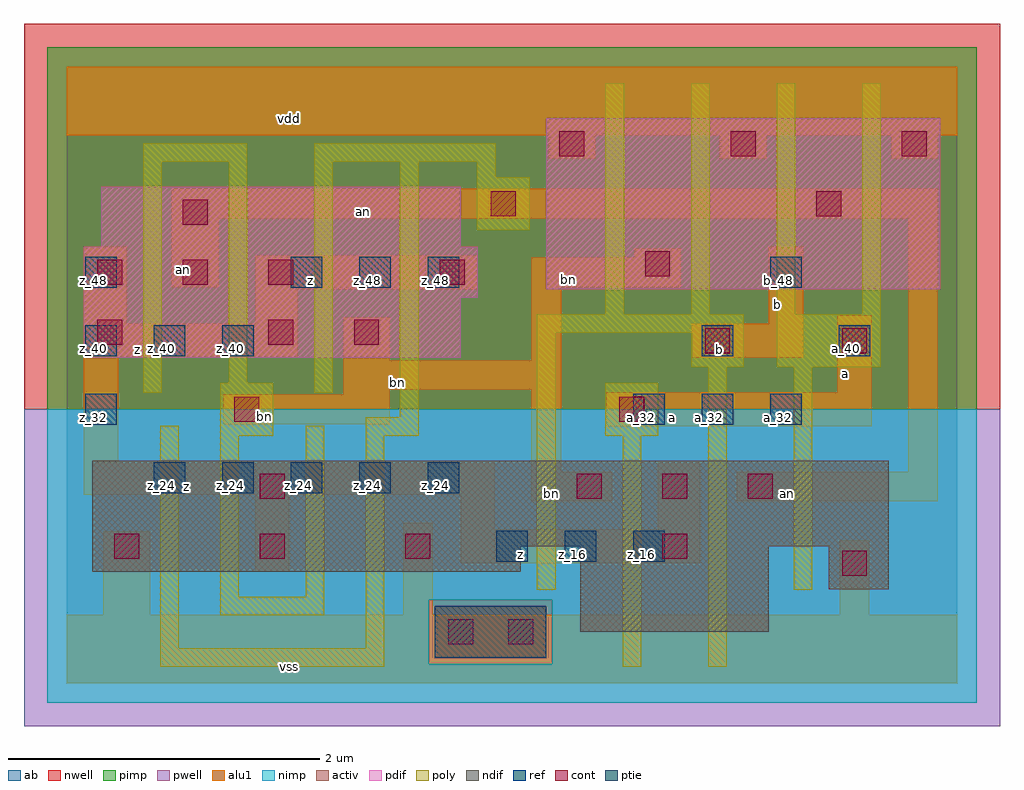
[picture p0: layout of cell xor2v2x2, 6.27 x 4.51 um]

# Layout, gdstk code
import gdstk
lib = gdstk.Library(unit=1e-6, precision=2.5e-09)
def R(c, l, rs):  # rectangles x0, y0, x1, y1
    for r in rs: c.add(gdstk.rectangle(r[:2], r[2:], *l))
def A(c, l, x, y, w, h, nx, ny, dx, dy):  # array of equal rectangles
    R(c, l, [(x+i*dx, y+j*dy, x+i*dx+w, y+j*dy+h) for i in range(nx) for j in range(ny)])
ndif = (3, 0)
pdif = (4, 0)
ptie = (6, 0)
ref = (24, 0)
cont = (25, 0)
pwell = (41, 0)
nwell = (42, 0)
activ = (43, 0)
pimp = (44, 0)
nimp = (45, 0)
poly = (46, 0)
alu1 = (49, 0)
ab = (63, 0)

xor2v2x2 = lib.new_cell('xor2v2x2')
R(xor2v2x2, ndif, [(3.3,0.33,4.51,0.88), (4.895,0.605,5.28,0.88), (0.165,0.715,2.915,0.88), (0.165,0.88,5.28,1.43)])
R(xor2v2x2, pdif, [(0.11,2.09,2.53,2.475), (0.11,2.475,2.64,2.805), (3.08,2.53,5.61,3.63), (0.22,2.805,2.53,3.19)])
R(xor2v2x2, ptie, [(2.365,0.165,3.08,0.495)])
A(xor2v2x2, ref, 2.76, 0.78, 0.2, 0.2, 3, 1, 0.44, 0)
A(xor2v2x2, ref, 0.56, 1.22, 0.2, 0.2, 5, 1, 0.44, 0)
A(xor2v2x2, ref, 3.64, 1.66, 0.2, 0.2, 3, 1, 0.44, 0)
A(xor2v2x2, ref, 0.12, 2.1, 0.2, 0.2, 3, 1, 0.44, 0)
A(xor2v2x2, ref, 1.44, 2.54, 0.2, 0.2, 3, 1, 0.44, 0)
R(xor2v2x2, ref, [(0.12,1.66,0.32,1.86), (4.08,2.1,4.28,2.3), (4.96,2.1,5.16,2.3), (0.12,2.54,0.32,2.74), (4.52,2.54,4.72,2.74)])
A(xor2v2x2, cont, 0.305, 0.8, 0.16, 0.16, 3, 1, 0.935, 0)
A(xor2v2x2, cont, 3.275, 1.185, 0.16, 0.16, 3, 1, 0.55, 0)
A(xor2v2x2, cont, 0.195, 2.56, 0.16, 0.16, 3, 1, 0.55, 0)
A(xor2v2x2, cont, 3.165, 3.385, 0.16, 0.16, 3, 1, 1.1, 0)
R(xor2v2x2, cont, [(2.45,0.25,2.61,0.41), (2.835,0.25,2.995,0.41), (4.98,0.69,5.14,0.85), (3.825,0.8,3.985,0.96), (1.24,1.185,1.4,1.345), (1.075,1.68,1.235,1.84), (3.55,1.68,3.71,1.84), (4.1,2.12,4.26,2.28), (4.98,2.12,5.14,2.28), (0.195,2.175,0.355,2.335), (1.295,2.175,1.455,2.335), (1.845,2.175,2.005,2.335), (2.395,2.56,2.555,2.72), (3.715,2.615,3.875,2.775), (0.745,2.945,0.905,3.105), (2.725,3,2.885,3.16), (4.815,3,4.975,3.16)])
R(xor2v2x2, pwell, [(-0.275,-0.275,5.995,1.76)])
R(xor2v2x2, nwell, [(-0.275,1.76,5.995,4.235)])
R(xor2v2x2, activ, [(2.365,0.165,3.08,0.495), (3.3,0.33,4.51,0.88), (4.895,0.605,5.28,0.88), (0.165,0.715,2.915,0.88), (0.165,0.88,5.28,1.43), (0.11,2.09,2.53,2.475), (0.11,2.475,2.64,2.805), (3.08,2.53,5.61,3.63), (0.22,2.805,2.53,3.19)])
R(xor2v2x2, pimp, [(2.325,0.125,3.12,0.535), (-0.125,1.76,5.845,4.085)])
R(xor2v2x2, nimp, [(-0.125,-0.125,5.845,0.125), (-0.125,0.125,2.325,0.535), (3.12,0.125,5.845,0.535), (-0.125,0.535,5.845,1.76)])
A(xor2v2x2, poly, 3.46, 2.37, 0.12, 1.485, 4, 1, 0.55, 0)
R(xor2v2x2, poly, [(0.6,0.105,2.04,0.225), (3.57,0.105,3.69,1.59), (4.12,0.105,4.24,2.03), (0.6,0.225,0.72,1.655), (1.92,0.225,2.04,1.59), (0.985,0.435,1.655,0.555), (0.985,0.555,1.105,1.59), (1.535,0.555,1.655,1.655), (3.02,0.6,3.14,2.25), (4.67,0.6,4.79,2.03), (0.985,1.59,1.325,1.93), (1.92,1.59,2.26,1.71), (3.46,1.59,3.8,1.93), (2.14,1.71,2.26,3.35), (0.49,1.865,0.61,3.35), (1.59,1.865,1.71,3.35), (1.04,1.93,1.16,3.35), (4.01,2.03,4.35,2.25), (4.56,2.03,5.23,2.37), (3.02,2.25,4.35,2.37), (2.635,2.91,2.975,3.25), (2.635,3.25,2.755,3.35), (0.49,3.35,1.16,3.47), (1.59,3.35,2.755,3.47)])
A(xor2v2x2, alu1, 3.095, 3.37, 0.3, 0.15, 3, 1, 1.1, 0)
R(xor2v2x2, alu1, [(0,0,5.72,0.44), (0.235,0.44,0.535,0.975), (2.16,0.44,2.35,1.03), (4.965,0.44,5.155,0.92), (1.21,0.715,1.43,1.21), (2.53,0.77,4.07,0.99), (2.53,0.99,2.75,1.21), (3.795,0.99,4.07,1.43), (2.985,1.17,3.505,1.36), (4.305,1.17,5.595,1.36), (0.11,1.21,2.75,1.43), (2.985,1.36,3.175,1.885), (5.405,1.36,5.595,2.985), (0.11,1.43,0.33,2.09), (3.465,1.65,5.17,1.87), (1.005,1.665,2.075,1.855), (1.775,1.855,2.075,1.885), (4.95,1.87,5.17,2.365), (1.775,1.885,3.175,2.075), (1.775,2.075,2.075,2.35), (2.985,2.075,3.175,2.545), (0.11,2.09,1.485,2.31), (4.015,2.09,4.73,2.31), (0.11,2.31,0.385,2.805), (1.21,2.31,1.485,2.53), (4.51,2.31,4.73,2.805), (1.21,2.53,2.64,2.75), (0.675,2.545,0.975,2.985), (2.985,2.545,3.945,2.735), (3.645,2.735,3.945,2.79), (0.675,2.985,5.595,3.175), (0,3.52,5.72,3.96)])
R(xor2v2x2, ab, [(0,0,5.72,3.96)])
xor2v2x2.add(gdstk.Label('vss', (1.43,0.11), layer=49, texttype=0))
xor2v2x2.add(gdstk.Label('z', (2.915,0.825), layer=49, texttype=0))
xor2v2x2.add(gdstk.Label('an', (4.6275,1.2175), layer=49, texttype=0))
xor2v2x2.add(gdstk.Label('bn', (3.115,1.2175), layer=49, texttype=0))
xor2v2x2.add(gdstk.Label('a', (3.89,1.705), layer=49, texttype=0))
xor2v2x2.add(gdstk.Label('a', (5.005,1.9925), layer=49, texttype=0))
xor2v2x2.add(gdstk.Label('z', (0.77,1.265), layer=49, texttype=0))
xor2v2x2.add(gdstk.Label('bn', (1.2725,1.7125), layer=49, texttype=0))
xor2v2x2.add(gdstk.Label('bn', (2.125,1.9325), layer=49, texttype=0))
xor2v2x2.add(gdstk.Label('b', (4.1925,2.145), layer=49, texttype=0))
xor2v2x2.add(gdstk.Label('b', (4.565,2.4325), layer=49, texttype=0))
xor2v2x2.add(gdstk.Label('z', (0.4525,2.145), layer=49, texttype=0))
xor2v2x2.add(gdstk.Label('bn', (3.225,2.5925), layer=49, texttype=0))
xor2v2x2.add(gdstk.Label('z', (1.5675,2.585), layer=49, texttype=0))
xor2v2x2.add(gdstk.Label('an', (0.75,2.655), layer=49, texttype=0))
xor2v2x2.add(gdstk.Label('an', (1.905,3.0325), layer=49, texttype=0))
xor2v2x2.add(gdstk.Label('vdd', (1.43,3.63), layer=49, texttype=0))
xor2v2x2.add(gdstk.Label('z_24', (0.61,1.27), layer=24, texttype=0))
xor2v2x2.add(gdstk.Label('z_24', (1.05,1.27), layer=24, texttype=0))
xor2v2x2.add(gdstk.Label('z_24', (1.49,1.27), layer=24, texttype=0))
xor2v2x2.add(gdstk.Label('z_24', (1.93,1.27), layer=24, texttype=0))
xor2v2x2.add(gdstk.Label('z_32', (0.17,1.71), layer=24, texttype=0))
xor2v2x2.add(gdstk.Label('z_40', (0.17,2.15), layer=24, texttype=0))
xor2v2x2.add(gdstk.Label('z_48', (0.17,2.59), layer=24, texttype=0))
xor2v2x2.add(gdstk.Label('z_24', (2.37,1.27), layer=24, texttype=0))
xor2v2x2.add(gdstk.Label('z_16', (2.81,0.83), layer=24, texttype=0))
xor2v2x2.add(gdstk.Label('z_16', (3.25,0.83), layer=24, texttype=0))
xor2v2x2.add(gdstk.Label('z_16', (3.69,0.83), layer=24, texttype=0))
xor2v2x2.add(gdstk.Label('b_40', (4.13,2.15), layer=24, texttype=0))
xor2v2x2.add(gdstk.Label('a_32', (4.57,1.71), layer=24, texttype=0))
xor2v2x2.add(gdstk.Label('a_32', (4.13,1.71), layer=24, texttype=0))
xor2v2x2.add(gdstk.Label('a_32', (3.69,1.71), layer=24, texttype=0))
xor2v2x2.add(gdstk.Label('a_40', (5.01,2.15), layer=24, texttype=0))
xor2v2x2.add(gdstk.Label('z_40', (0.61,2.15), layer=24, texttype=0))
xor2v2x2.add(gdstk.Label('z_40', (1.05,2.15), layer=24, texttype=0))
xor2v2x2.add(gdstk.Label('z_48', (1.49,2.59), layer=24, texttype=0))
xor2v2x2.add(gdstk.Label('z_48', (1.93,2.59), layer=24, texttype=0))
xor2v2x2.add(gdstk.Label('z_48', (2.37,2.59), layer=24, texttype=0))
xor2v2x2.add(gdstk.Label('b_48', (4.57,2.59), layer=24, texttype=0))

lib.write_gds('xor2v2x2.gds')
